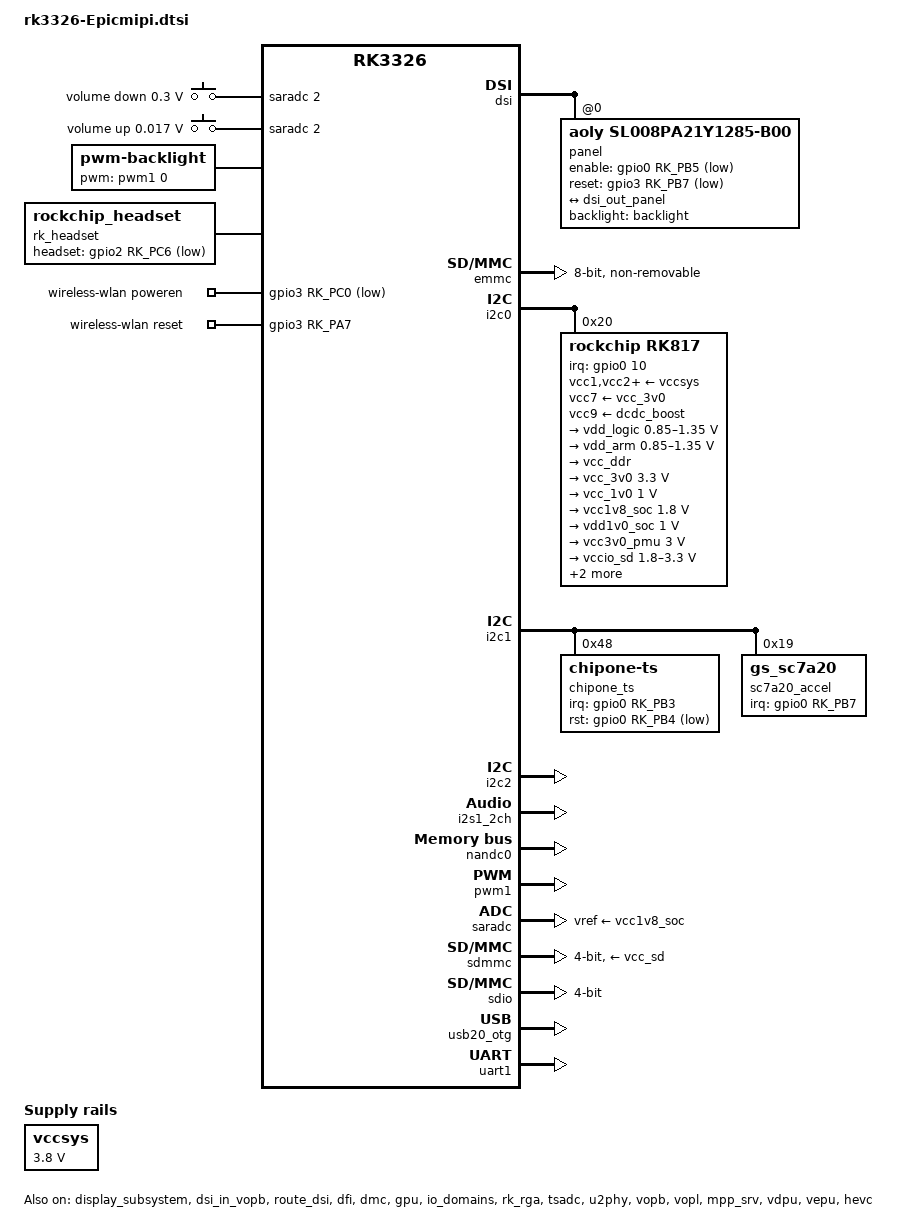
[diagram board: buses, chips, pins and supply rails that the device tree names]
// SPDX-License-Identifier: (GPL-2.0+ OR MIT)
/*
 * Copyright (c) 2017 Fuzhou Rockchip Electronics Co., Ltd
 */

/dts-v1/;
#include <dt-bindings/display/drm_mipi_dsi.h>
#include <dt-bindings/gpio/gpio.h>
#include <dt-bindings/input/input.h>
#include <dt-bindings/pinctrl/rockchip.h>
#include <dt-bindings/sensor-dev.h>
#include "rk3326.dtsi"
#include "rk3326-863-cif-sensor.dtsi"
#include "px30-android-Epic.dtsi"

/ {
	adc-keys {
		compatible = "adc-keys";
		io-channels = <&saradc 2>;
		io-channel-names = "buttons";
		poll-interval = <100>;
		keyup-threshold-microvolt = <1800000>;

		vol-down-key {
			linux,code = <KEY_VOLUMEDOWN>;
			label = "volume down";
			press-threshold-microvolt = <300000>;
		};

		vol-up-key {
			linux,code = <KEY_VOLUMEUP>;
			label = "volume up";
			press-threshold-microvolt = <17000>;
		};
	};

	backlight: backlight {
		compatible = "pwm-backlight";
		pwms = <&pwm1 0 25000 0>;
		brightness-levels = <
			 0   10  10  11  11  12  12  13
			 13  14  14  15  15  16  16  17
			 17  18  18  19  20  21  22  23
			 24  25  26  27  28  29  30  31
			 32  33  34  35  36  37  38  39
			 40  41  42  43  44  45  46  47
			 48  49  50  51  52  53  54  55
			 56  57  58  59  60  61  62  63
			 64  65  66  67  68  69  70  71
			 72  73  74  75  76  77  78  79
			 80  81  82  83  84  85  86  87
			 88  89  90  91  92  93  94  95
			 96  97  98  99 100 101 102 103
			104 105 106 107 108 109 110 111
			112 113 114 115 116 117 118 119
			120 121 122 123 124 125 126 127
			128 129 130 131 132 133 134 135
			136 137 138 139 140 141 142 143
			144 145 146 147 148 149 150 151
			152 153 154 155 156 157 158 159
			160 161 162 163 164 165 166 167
			168 169 170 171 172 173 174 175
			176 177 178 179 180 181 182 183
			184 185 186 187 188 189 190 191
			192 193 194 195 196 197 198 199
			200 201 202 203 204 205 206 207
			208 209 210 211 212 213 214 215
			216 217 218 219 220 221 222 223
			224 225 226 227 228 229 230 231
			232 233 234 235 236 237 238 239
			240 241 242 243 244 245 246 247
			248 249 250 251 252 253 254 255>;
		default-brightness-level = <200>;
	};

	charge-animation {
		compatible = "rockchip,uboot-charge";
		rockchip,uboot-charge-on = <1>;
		rockchip,android-charge-on = <0>;
		rockchip,system-suspend = <1>;
		rockchip,auto-wakeup-interval = <40>;
		rockchip,uboot-low-power-voltage = <3500>;
		rockchip,screen-on-voltage = <3600>;
		status = "okay";
	};

	rk817-sound {
		compatible = "simple-audio-card";
		simple-audio-card,format = "i2s";
		simple-audio-card,name = "rockchip-rk817-codec";
		simple-audio-card,mclk-fs = <256>;
		simple-audio-card,widgets =
			"Microphone", "Mic Jack",
			"Headphone", "Headphone Jack";
		simple-audio-card,routing =
			"Mic Jack", "MICBIAS1",
			"IN1P", "Mic Jack",
			"Headphone Jack", "HPOL",
			"Headphone Jack", "HPOR";
		simple-audio-card,cpu {
			sound-dai = <&i2s1_2ch>;
		};
		simple-audio-card,codec {
			sound-dai = <&rk817_codec>;
		};
	};

	rk_headset: rk-headset {
		compatible = "rockchip_headset";
		headset_gpio = <&gpio2 RK_PC6 GPIO_ACTIVE_LOW>;
		pinctrl-names = "default";
		pinctrl-0 = <&hp_det>;
	};

/*	sdio_pwrseq: sdio-pwrseq {
		compatible = "mmc-pwrseq-simple";
		clocks = <&cru SCLK_WIFI_PMU>;
		clock-names = "clk_wifi_pmu";
		pinctrl-names = "default";
		pinctrl-0 = <&wifi_enable_h>; 
		reset-gpios = <&gpio3 RK_PA7 GPIO_ACTIVE_LOW>; 
	};
*/

	vccsys: vccsys {
		compatible = "regulator-fixed";
		regulator-name = "vcc3v8_sys";
		regulator-always-on;
		regulator-boot-on;
		regulator-min-microvolt = <3800000>;
		regulator-max-microvolt = <3800000>;
	};

	wireless-wlan {
		compatible = "wlan-platdata";
		wifi_chip_type = "atbm6011b";
		sdio_vref = <3300>;
		WIFI,poweren_gpio = <&gpio3 RK_PC0 GPIO_ACTIVE_LOW>;
		WIFI,reset_gpio = <&gpio3 RK_PA7 GPIO_ACTIVE_HIGH>;
		status = "okay";
	};

	wireless-bluetooth {
		compatible = "bluetooth-platdata";
		uart_rts_gpios = <&gpio1 RK_PC3 GPIO_ACTIVE_LOW>;
		pinctrl-names = "default","rts_gpio";
		pinctrl-0 = <&uart1_rts>;
		pinctrl-1 = <&uart1_rts_gpio>;
		BT,reset_gpio = <&gpio0 RK_PC1 GPIO_ACTIVE_HIGH>;
		BT,wake_gpio = <&gpio0 RK_PA1 GPIO_ACTIVE_HIGH>;
		//BT,wake_host_irq = <&gpio0 RK_PB3 GPIO_ACTIVE_HIGH>;
		status = "disabled";
	};

};


&display_subsystem {
	status = "okay";
};

&dsi {
	status = "okay";

	panel@0 {
		compatible = "aoly,sl008pa21y1285-b00", "simple-panel-dsi";
		reg = <0>;
		backlight = <&backlight>;
		enable-gpios = <&gpio0 RK_PB5 GPIO_ACTIVE_LOW>;
		reset-gpios = <&gpio3 RK_PB7 GPIO_ACTIVE_LOW>;
		prepare-delay-ms = <20>;
		reset-delay-ms = <200>;
		init-delay-ms = <20>;
		enable-delay-ms = <120>;
		disable-delay-ms = <20>;
		unprepare-delay-ms = <20>;

		width-mm = <108>;
		height-mm = <172>;

		dsi,flags = <(MIPI_DSI_MODE_VIDEO | MIPI_DSI_MODE_VIDEO_BURST |
			      MIPI_DSI_MODE_LPM | MIPI_DSI_MODE_EOT_PACKET)>;
		dsi,format = <MIPI_DSI_FMT_RGB888>;
		dsi,lanes = <4>;
		panel-init-sequence = [
		05 78 01 11
		05 14 01 29			
		];
		panel-exit-sequence = [
			05 00 01 28
			05 00 01 10
		];

		display-timings {
			native-mode = <&timing0>;
			timing0: timing0 {
				clock-frequency = <60000000>;
				hactive = <600>;
				vactive = <1024>;
				hfront-porch = <60>;
				hsync-len = <8>;
				hback-porch = <50>;
				vfront-porch = <12>;
				vsync-len = <4>;
				vback-porch = <12>;
				hsync-active = <0>;
				vsync-active = <0>;
				de-active = <0>;
				pixelclk-active = <0>;
			};
		};

		ports {
			#address-cells = <1>;
			#size-cells = <0>;

			port@0 {
				reg = <0>;
				panel_in_dsi: endpoint {
					remote-endpoint = <&dsi_out_panel>;
				};
			};
		};
	};

};

&dsi_in_vopb {
	status = "okay";
};

&dsi_in_vopl {
	status = "disabled";
};

&route_dsi {
	connect = <&vopb_out_dsi>;
	status = "okay";
};

&bus_apll {
	bus-supply = <&vdd_logic>;
	status = "okay";
};

&cpu0 {
	cpu-supply = <&vdd_arm>;
};

&cpu0_opp_table {
	/*
	 * max IR-drop values on different freq condition for this board!
	 */
	rockchip,board-irdrop = <
		/*MHz	MHz	uV */
		0	815	37500
		816	1119	50000
		1200	1512	75000
	>;
};

&dmc_opp_table {
	/*
	 * max IR-drop values on different freq condition for this board!
	 */
	rockchip,board-irdrop = <
		/*MHz	MHz	uV */
		451	800	75000
	>;
};

&dfi {
	status = "okay";
};

&dmc {
	center-supply = <&vdd_logic>;
	status = "okay";
};

&emmc {
	bus-width = <8>;
	cap-mmc-highspeed;
	mmc-hs200-1_8v;
	supports-emmc;
	disable-wp;
	non-removable;
	num-slots = <1>;
	status = "okay";
};

&gpu {
	mali-supply = <&vdd_logic>;
	status = "okay";
};

&i2c0 {
	status = "okay";

	rk817: pmic@20 {
		compatible = "rockchip,rk817";
		reg = <0x20>;
		interrupt-parent = <&gpio0>;
		interrupts = <10 IRQ_TYPE_LEVEL_LOW>;
		pinctrl-names = "default", "pmic-sleep",
				"pmic-power-off", "pmic-reset";
		pinctrl-0 = <&pmic_int>;
		pinctrl-1 = <&soc_slppin_slp>, <&rk817_slppin_slp>;
		pinctrl-2 = <&soc_slppin_gpio>, <&rk817_slppin_pwrdn>;
		pinctrl-3 = <&soc_slppin_rst>, <&rk817_slppin_rst>;
		rockchip,system-power-controller;
		wakeup-source;
		#clock-cells = <1>;
		clock-output-names = "rk808-clkout1", "rk808-clkout2";
		//fb-inner-reg-idxs = <2>;
		/* 1: rst regs (default in codes), 0: rst the pmic */
		pmic-reset-func = <1>;

		vcc1-supply = <&vccsys>;
		vcc2-supply = <&vccsys>;
		vcc3-supply = <&vccsys>;
		vcc4-supply = <&vccsys>;
		vcc5-supply = <&vccsys>;
		vcc6-supply = <&vccsys>;
		vcc7-supply = <&vcc_3v0>;
		vcc8-supply = <&vccsys>;
		vcc9-supply = <&dcdc_boost>;

		pwrkey {
			status = "okay";
		};

		pinctrl_rk8xx: pinctrl_rk8xx {
			gpio-controller;
			#gpio-cells = <2>;

			rk817_ts_gpio1: rk817_ts_gpio1 {
				pins = "gpio_ts";
				function = "pin_fun1";
				/* output-low; */
				/* input-enable; */
			};

			rk817_gt_gpio2: rk817_gt_gpio2 {
				pins = "gpio_gt";
				function = "pin_fun1";
			};

			rk817_pin_ts: rk817_pin_ts {
				pins = "gpio_ts";
				function = "pin_fun0";
			};

			rk817_pin_gt: rk817_pin_gt {
				pins = "gpio_gt";
				function = "pin_fun0";
			};

			rk817_slppin_null: rk817_slppin_null {
				pins = "gpio_slp";
				function = "pin_fun0";
			};

			rk817_slppin_slp: rk817_slppin_slp {
				pins = "gpio_slp";
				function = "pin_fun1";
			};

			rk817_slppin_pwrdn: rk817_slppin_pwrdn {
				pins = "gpio_slp";
				function = "pin_fun2";
			};

			rk817_slppin_rst: rk817_slppin_rst {
				pins = "gpio_slp";
				function = "pin_fun3";
			};
		};

		regulators {
			vdd_logic: DCDC_REG1 {
				regulator-always-on;
				regulator-boot-on;
				regulator-early-min-microvolt = <1000000>;
				regulator-min-microvolt = <850000>;
				regulator-max-microvolt = <1350000>;
				regulator-ramp-delay = <6001>;
				regulator-initial-mode = <0x2>;
				regulator-name = "vdd_logic";
				regulator-state-mem {
					regulator-on-in-suspend;
					regulator-suspend-microvolt = <950000>;
				};
			};

			vdd_arm: DCDC_REG2 {
				regulator-always-on;
				regulator-boot-on;
				regulator-min-microvolt = <850000>;
				regulator-max-microvolt = <1350000>;
				regulator-ramp-delay = <6001>;
				regulator-initial-mode = <0x2>;
				regulator-name = "vdd_arm";
				regulator-state-mem {
					regulator-off-in-suspend;
					regulator-suspend-microvolt = <950000>;
				};
			};

			vcc_ddr: DCDC_REG3 {
				regulator-always-on;
				regulator-boot-on;
				regulator-initial-mode = <0x2>;
				regulator-name = "vcc_ddr";
				regulator-state-mem {
					regulator-on-in-suspend;
				};
			};

			vcc_3v0: DCDC_REG4 {
				regulator-always-on;
				regulator-boot-on;
				regulator-min-microvolt = <3300000>;
				regulator-max-microvolt = <3300000>;
				regulator-initial-mode = <0x2>;
				regulator-name = "vcc_3v0";
				regulator-state-mem {
					regulator-on-in-suspend;
					regulator-suspend-microvolt = <3300000>;
				};
			};

			vcc_1v0: LDO_REG1 {
				regulator-always-on;
				regulator-boot-on;
				regulator-min-microvolt = <1000000>;
				regulator-max-microvolt = <1000000>;
				regulator-name = "vcc_1v0";
				regulator-state-mem {
					regulator-on-in-suspend;
					regulator-suspend-microvolt = <1000000>;
				};
			};

			vcc1v8_soc: LDO_REG2 {
				regulator-always-on;
				regulator-boot-on;
				regulator-min-microvolt = <1800000>;
				regulator-max-microvolt = <1800000>;

				regulator-name = "vcc1v8_soc";
				regulator-state-mem {
					regulator-on-in-suspend;
					regulator-suspend-microvolt = <1800000>;
				};
			};

			vdd1v0_soc: LDO_REG3 {
				regulator-always-on;
				regulator-boot-on;
				regulator-min-microvolt = <1000000>;
				regulator-max-microvolt = <1000000>;

				regulator-name = "vcc1v0_soc";
				regulator-state-mem {
					regulator-on-in-suspend;
					regulator-suspend-microvolt = <1000000>;
				};
			};

			vcc3v0_pmu: LDO_REG4 {
				regulator-always-on;
				regulator-boot-on;
				regulator-min-microvolt = <3000000>;
				regulator-max-microvolt = <3000000>;

				regulator-name = "vcc3v0_pmu";
				regulator-state-mem {
					regulator-on-in-suspend;
					regulator-suspend-microvolt = <3000000>;

				};
			};

			vccio_sd: LDO_REG5 {
				regulator-always-on;
				regulator-boot-on;
				regulator-min-microvolt = <1800000>;
				regulator-max-microvolt = <3300000>;

				regulator-name = "vccio_sd";
				regulator-state-mem {
					regulator-on-in-suspend;
					regulator-suspend-microvolt = <3300000>;
				};
			};

			vcc_sd: LDO_REG6 {
				regulator-min-microvolt = <3300000>;
				regulator-max-microvolt = <3300000>;

				regulator-name = "vcc_sd";
				regulator-state-mem {
					regulator-on-in-suspend;
					regulator-suspend-microvolt = <3300000>;

				};
			};

			vcc2v8_dvp: LDO_REG7 {
				regulator-boot-off;
				regulator-min-microvolt = <2800000>;
				regulator-max-microvolt = <2800000>;

				regulator-name = "vcc2v8_dvp";
				regulator-state-mem {
					regulator-off-in-suspend;
					regulator-suspend-microvolt = <2800000>;
				};
			};

			vcc1v8_dvp: LDO_REG8 {
				regulator-boot-off;
				regulator-min-microvolt = <1800000>;
				regulator-max-microvolt = <1800000>;

				regulator-name = "vcc1v8_dvp";
				regulator-state-mem {
					regulator-off-in-suspend;
					regulator-suspend-microvolt = <1800000>;
				};
			};

			vdd1v5_dvp: LDO_REG9 {
				regulator-boot-off;
				regulator-min-microvolt = <1800000>;
				regulator-max-microvolt = <1800000>;

				regulator-name = "vdd1v5_dvp";
				regulator-state-mem {
					regulator-off-in-suspend;
					regulator-suspend-microvolt = <1800000>;
				};
			};

			dcdc_boost: BOOST {
				regulator-always-on;
				regulator-boot-on;
				regulator-min-microvolt = <4700000>;
				regulator-max-microvolt = <5400000>;
				regulator-name = "boost";
			};

			otg_switch: OTG_SWITCH {
				regulator-name = "otg_switch";
			};
		};

		battery {
			compatible = "rk817,battery";
			ocv_table= <3400	3641	3680	3714	3734	3751	3767	3782	3780	3828	3848	3825	3875	3910	3946	3980	4027	4020	4066	4107	4153>;
		
		ntc_table = <43115 41204 39353 37596 35927 34343 32837 31407 30047 28754
								27523 26353 25239 24178 23169 22206 21290 20416 19583 18789
	              18031 17308 16618 15960 15331 14730 14156 13608 13083 12582 
		     				12103 11645 11206 10786 10358 10000 9632 9279 8941 8617
		     				8306 8009 7723 7449 7187 6935 6693 6461 6238 6024
		     				5818 5620 5430 5248 5073 4904 4742 4586 4436 4291
		     				4152>;
		  ntc_degree_from = <1 10>;	   
			design_capacity = <3240>;
			design_qmax = <3560>;
			bat_res = <128>;
			sleep_enter_current = <150>;
			sleep_exit_current = <180>;
			sleep_filter_current = <100>;
			power_off_thresd = <3500>;
			zero_algorithm_vol = <3850>;
			max_soc_offset = <60>;
			monitor_sec = <5>;
			sample_res = <10>;
			virtual_power = <0>;
		};

		charger {
			compatible = "rk817,charger";
			min_input_voltage = <4500>;
			max_input_current = <1500>;
			max_chrg_current = <1000>;
			max_chrg_voltage = <4200>;
			chrg_term_mode = <0>;
			chrg_finish_cur = <200>;
			virtual_power = <0>;
			dc_det_adc = <0>;
			extcon = <&u2phy>;
		};

		rk817_codec: codec {
			#sound-dai-cells = <0>;
			compatible = "rockchip,rk817-codec";
			clocks = <&cru SCLK_I2S1_OUT>;
			clock-names = "mclk";
			pinctrl-names = "default";
			pinctrl-0 = <&i2s1_2ch_mclk>;
			hp-volume = <20>;
			spk-volume = <3>;
			capture-volume=<10>;
			mic-in-differential;
			status = "okay";
		};
	};
};

&i2c1 {
	status = "okay";
/*
	ts@41 {
	status = "okay";
	compatible = "tchip,ilitek";
	reg = <0x41>;
	touch,irq-gpio = <&gpio0 RK_PB3 IRQ_TYPE_EDGE_RISING>;
	touch,reset-gpio = <&gpio0 RK_PB4 GPIO_ACTIVE_LOW>;
    };
    */
  chipone_ts@48 {
	status = "okay";
	compatible = "chipone-ts";
	reg = <0x48>;
	chipone,irq-gpio = <&gpio0 RK_PB3 IRQ_TYPE_EDGE_RISING>;
	chipone,rst-gpio = <&gpio0 RK_PB4 GPIO_ACTIVE_LOW>;
	chipone,x-res = <1024>;
	chipone,y-res = <600>;
    };
    
	sc7a20_accel@19 {
		status = "okay";
		compatible = "gs_sc7a20";
		reg = <0x19>;
		type = <SENSOR_TYPE_ACCEL>;
		irq-gpio = <&gpio0 RK_PB7 IRQ_TYPE_LEVEL_LOW>;
		irq_enable = <0>;
		poll_delay_ms = <30>;
		layout = <1>;
		reprobe_en = <1>;
	};
};

&i2c2 {
	status = "okay";
};

&i2s1_2ch {
	status = "okay";
	#sound-dai-cells = <0>;
};

&io_domains {
	status = "okay";

	vccio1-supply = <&vcc_3v0>;
	vccio2-supply = <&vccio_sd>;
	vccio3-supply = <&vcc1v8_dvp>;
	vccio4-supply = <&vcc_3v0>;
	vccio5-supply = <&vcc_3v0>;
};

&nandc0 {
	status = "okay";
};

&pinctrl {
	headphone {
		hp_det: hp-det {
			rockchip,pins = <2 RK_PC6 RK_FUNC_GPIO &pcfg_pull_up>;
		};
	};

	pmic {
		pmic_int: pmic_int {
			rockchip,pins =
				<0 RK_PB2 RK_FUNC_GPIO &pcfg_pull_up>;
		};

		soc_slppin_gpio: soc_slppin_gpio {
			rockchip,pins =
				<0 RK_PA4 RK_FUNC_GPIO &pcfg_output_low>;
		};

		soc_slppin_slp: soc_slppin_slp {
			rockchip,pins =
				<0 RK_PA4 RK_FUNC_1 &pcfg_pull_none>;
		};

		soc_slppin_rst: soc_slppin_rst {
			rockchip,pins =
				<0 RK_PA4 RK_FUNC_2 &pcfg_pull_none>;
		};
	};

/*	sdio-pwrseq {
		wifi_enable_h: wifi-enable-h {
			rockchip,pins = <0 RK_PA2 RK_FUNC_GPIO &pcfg_pull_none>;
		};
	};
*/
};

&pmu_io_domains {
	status = "okay";

	pmuio1-supply = <&vcc3v0_pmu>;
	pmuio2-supply = <&vcc3v0_pmu>;
};

&pwm1 {
	status = "okay";
};

&rk_rga {
	status = "okay";
};

&rockchip_suspend {
	status = "okay";
	rockchip,sleep-debug-en = <1>;
};

&saradc {
	status = "okay";
	vref-supply = <&vcc1v8_soc>;
};

&sdmmc {
	bus-width = <4>;
	cap-mmc-highspeed;
	cap-sd-highspeed;
	supports-sd;
	card-detect-delay = <800>;
	ignore-pm-notify;
	sd-uhs-sdr12;
	sd-uhs-sdr25;
	sd-uhs-sdr50;
	sd-uhs-sdr104;
	vqmmc-supply = <&vccio_sd>;
	vmmc-supply = <&vcc_sd>;
	status = "okay";
};

&sdio {
	max-frequency = <50000000>;
	clock-freq-min-max = <200000 50000000>;
	bus-width = <4>;
	cap-sd-highspeed;
	supports-sdio;
	cap-sdio-irq;
	disable-wp;
	keep-power-in-suspend;
//	mmc-pwrseq = <&sdio_pwrseq>;
//	non-removable;
	status = "okay";
};

&tsadc {
	pinctrl-names = "gpio", "otpout";
	pinctrl-0 = <&tsadc_otp_gpio>;
	pinctrl-1 = <&tsadc_otp_out>;
	status = "okay";
};

&u2phy {
	status = "okay";

	u2phy_host: host-port {
		rockchip,low-power-mode;
		status = "okay";
	};

	u2phy_otg: otg-port {
		rockchip,low-power-mode;
		status = "okay";
	};
};

&usb20_otg {
	status = "okay";
};

&uart1 {
	pinctrl-names = "default";
	pinctrl-0 = <&uart1_xfer &uart1_cts>;
	status = "okay";
};

&vip_mmu {
	status = "okay";
};

&vopb {
	status = "okay";
};

&vopb_mmu {
	status = "okay";
};

&vopl {
	status = "okay";
};

&vopl_mmu {
	status = "okay";
};

&mpp_srv {
	status = "okay";
};

&vdpu {
	status = "okay";
};

&vepu {
	status = "okay";
};

&vpu_mmu {
	status = "okay";
};

&hevc {
	status = "okay";
};

&hevc_mmu {
	status = "okay";
};
